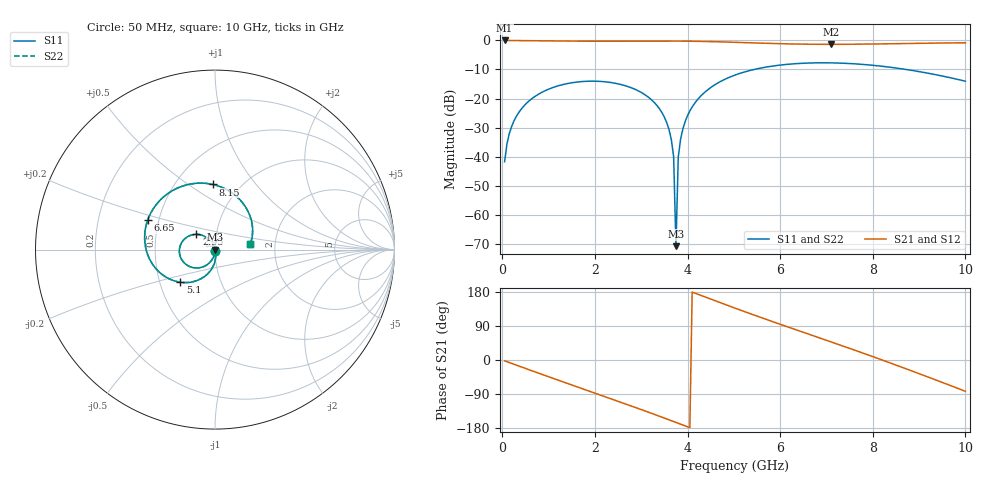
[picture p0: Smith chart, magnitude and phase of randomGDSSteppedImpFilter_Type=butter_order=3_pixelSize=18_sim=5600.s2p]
! freq	dB(S11)	phase(S11)	dB(S12)	phase(S12)
!  dB(S21)	phase(S21)	dB(S22)	phase(S22)
!S-par simulation data
#  GHz  S  DB  R 50
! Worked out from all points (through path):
!   200 points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, 50 MHz to 10 GHz, reference 50 ohm
!   highest |S21| = 0.00 dB at 50 MHz (marker M1); lowest = -1.3 dB at 7.1 GHz (marker M2)
!   group delay of S21, straight-line fit = 122 ps
!   lowest |S11| = -70.8 dB at 3.75 GHz (marker M3), VSWR 1.00, Z = 50 + j0.0192 ohm
!   |S11| at or under -10 dB: start of sweep to 5.436 GHz; 8.722 GHz to end of sweep
!   |S22| runs from -61.5 to -7.7 dB; largest |S21 - S12| = 0
!   S11 on the Smith chart (normalised r, x): 50 MHz: 1.00, -0.02; 2.95 GHz: 0.80, +0.14; 5.1 GHz: 0.64, -0.25; 6.65 GHz: 0.43, +0.17; 8.15 GHz: 0.75, +0.63; 10 GHz: 1.48, +0.10
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0.05  -41.76 -91.1  -0.00 -2.3  -0.00 -2.3  -41.76 -91.6
0.2  -29.69 -99.1  -0.02 -9.0  -0.02 -9.0  -29.68 -99.1
0.5  -22.00 -112.8  -0.06 -22.3  -0.06 -22.3  -22.00 -112.8
1.75  -14.12 -167.4  -0.26 -76.6  -0.26 -76.6  -14.12 -167.3
2.95  -17.46 140.6  -0.23 -128.5  -0.23 -128.5  -17.46 140.9
3.4  -23.66 120.3  -0.21 -148.7  -0.21 -148.7  -23.66 121.2
3.6  -30.69 110.9  -0.21 -157.8  -0.21 -157.8  -30.68 113.0
3.7  -40.02 105.4  -0.21 -162.4  -0.21 -162.4  -39.97 111.7
3.75  -70.84 42.0  -0.22 -164.7  -0.22 -164.7  -61.53 -176.1
3.8  -40.14 -76.2  -0.22 -167.0  -0.22 -167.0  -40.13 -82.7
3.95  -27.88 -84.2  -0.24 -173.9  -0.24 -173.9  -27.88 -85.8
4.35  -18.15 -102.8  -0.34 167.7  -0.34 167.7  -18.15 -103.4
5.05  -11.78 -134.6  -0.65 135.8  -0.65 135.8  -11.78 -134.9
5.1  -11.50 -136.9  -0.67 133.5  -0.67 133.5  -11.50 -137.1
5.85  -8.79 -169.6  -1.05 100.7  -1.05 100.7  -8.79 -169.7
6.65  -7.76 156.6  -1.31 66.8  -1.31 66.8  -7.76 156.5
6.7  -7.74 154.4  -1.32 64.7  -1.32 64.7  -7.74 154.4
7.1  -7.72 137.5  -1.35 47.7  -1.35 47.7  -7.72 137.5
8.15  -8.80 91.9  -1.19 2.3  -1.19 2.3  -8.80 92.0
8.35  -9.17 83.0  -1.14 -6.6  -1.14 -6.6  -9.17 83.2
9.1  -11.01 49.1  -0.95 -40.6  -0.95 -40.6  -11.00 49.5
10  -14.03 8.9  -0.80 -82.5  -0.80 -82.5  -14.03 9.6
